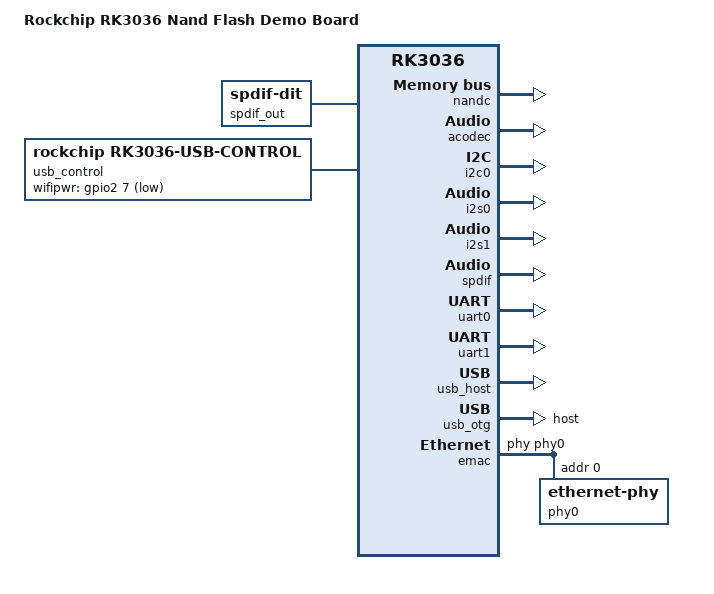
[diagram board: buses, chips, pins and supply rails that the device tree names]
/*
 * This file is dual-licensed: you can use it either under the terms
 * of the GPL or the X11 license, at your option. Note that this dual
 * licensing only applies to this file, and not this project as a
 * whole.
 *
 *  a) This file is free software; you can redistribute it and/or
 *     modify it under the terms of the GNU General Public License as
 *     published by the Free Software Foundation; either version 2 of the
 *     License, or (at your option) any later version.
 *
 *     This file is distributed in the hope that it will be useful,
 *     but WITHOUT ANY WARRANTY; without even the implied warranty of
 *     MERCHANTABILITY or FITNESS FOR A PARTICULAR PURPOSE.  See the
 *     GNU General Public License for more details.
 *
 *  Or, alternatively,
 *
 *  b) Permission is hereby granted, free of charge, to any person
 *     obtaining a copy of this software and associated documentation
 *     files (the "Software"), to deal in the Software without
 *     restriction, including without limitation the rights to use,
 *     copy, modify, merge, publish, distribute, sublicense, and/or
 *     sell copies of the Software, and to permit persons to whom the
 *     Software is furnished to do so, subject to the following
 *     conditions:
 *
 *     The above copyright notice and this permission notice shall be
 *     included in all copies or substantial portions of the Software.
 *
 *     THE SOFTWARE IS PROVIDED "AS IS", WITHOUT WARRANTY OF ANY KIND,
 *     EXPRESS OR IMPLIED, INCLUDING BUT NOT LIMITED TO THE WARRANTIES
 *     OF MERCHANTABILITY, FITNESS FOR A PARTICULAR PURPOSE AND
 *     NONINFRINGEMENT. IN NO EVENT SHALL THE AUTHORS OR COPYRIGHT
 *     HOLDERS BE LIABLE FOR ANY CLAIM, DAMAGES OR OTHER LIABILITY,
 *     WHETHER IN AN ACTION OF CONTRACT, TORT OR OTHERWISE, ARISING
 *     FROM, OUT OF OR IN CONNECTION WITH THE SOFTWARE OR THE USE OR
 *     OTHER DEALINGS IN THE SOFTWARE.
 */

/dts-v1/;

#include "rk3036.dtsi"

/ {
	model = "Rockchip RK3036 Nand Flash Demo Board";
	compatible = "rockchip,rk3036-nand-demo", "rockchip,rk3036";

	sound {
		compatible = "rockchip,rockchip-audio-rk3036";
		rockchip,model = "I2S-INNO-RK3036";
		rockchip,i2s-controller = <&i2s0>;
		rockchip,audio-codec = <&acodec>;
	};

	sound_spdif {
		compatible = "rockchip,rockchip-spdif-card";
		rockchip,model = "SPDIFCARD-ROCKCHIP";
		rockchip,spdif-controller = <&spdif>;
		rockchip,audio-codec = <&spdif_out>;
	};

	spdif_out: spdif-out {
		compatible = "linux,spdif-dit";
		#sound-dai-cells = <0>;
	};

	usb_control {
		compatible = "rockchip,rk3036-usb-control";
		wifipwr-gpios = <&gpio2 7 GPIO_ACTIVE_LOW>;
	};
};

&memory {
	device_type = "memory";
	reg = <0x60000000 0x20000000>;
};

&nandc {
	status = "okay";
};

&acodec {
	status = "okay";
};

&i2c0 {
	status = "okay";
};

&i2s0 {
	status = "okay";

	clock-names = "i2s_hclk", "i2s_clk", "i2s_clk_out";
	clocks = <&cru HCLK_I2S>, <&cru SCLK_I2S>, <&cru SCLK_I2S_OUT>;
};

&i2s1 {
	status = "okay";

	clock-names = "i2s_hclk", "i2s_clk", "i2s_clk_out";
	clocks = <&cru HCLK_I2S>, <&cru SCLK_I2S>, <&cru SCLK_I2S_OUT>;
};

&spdif {
	status = "okay";
};

&uart0 {
	status = "okay";
};

&uart1 {
	status = "okay";
};

&usb_host {
	status = "okay";
};

&usb_otg {
	status = "okay";

	dr_mode = "host";
};

&emac {
	assigned-clocks = <&cru SCLK_MACPLL>;
	assigned-clock-parents = <&cru PLL_APLL>;
	pinctrl-names = "default";
	pinctrl-0 = <&emac_xfer>, <&emac_mdio>, <&rmii_rst>;
	phy = <&phy0>;
	status = "okay";

	phy0: ethernet-phy@0 {
		reg = <0>;
	};
};

&pinctrl {
	pcfg_output_high: pcfg-output-high {
		output-high;
	};

	emac {
		rmii_rst: rmii-rst {
			rockchip,pins = <2 22 RK_FUNC_GPIO &pcfg_output_high>;
		};
	};
};
